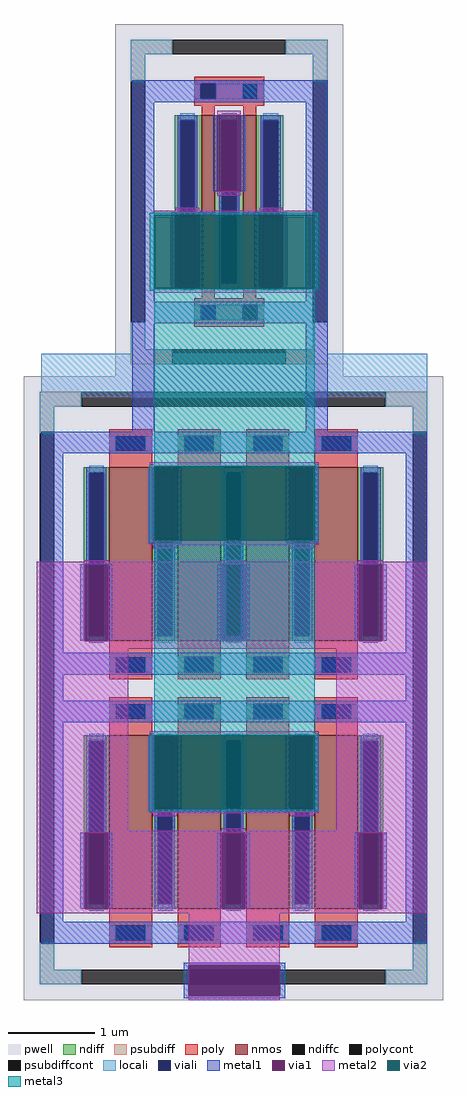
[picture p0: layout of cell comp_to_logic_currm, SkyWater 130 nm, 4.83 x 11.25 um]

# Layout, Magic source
magic
tech sky130B
magscale 1 2
<< pwell >>
rect 352 542 514 608
rect 352 32 514 98
<< poly >>
rect 352 592 514 608
rect 352 558 368 592
rect 402 558 514 592
rect 352 542 514 558
rect 352 82 514 98
rect 352 48 464 82
rect 498 48 514 82
rect 352 32 514 48
<< polycont >>
rect 368 558 402 592
rect 464 48 498 82
<< locali >>
rect 352 558 368 592
rect 402 558 514 592
rect 352 48 464 82
rect 498 48 514 82
rect 0 -130 890 -30
<< viali >>
rect 368 558 402 592
rect 464 48 498 82
rect 340 -1510 550 -1440
<< metal1 >>
rect 210 592 660 600
rect 210 558 368 592
rect 402 558 660 592
rect 210 550 660 558
rect 210 90 260 550
rect 396 344 406 520
rect 460 344 470 520
rect 300 120 310 296
rect 364 120 374 296
rect 492 120 502 296
rect 556 120 566 296
rect 610 90 660 550
rect 210 82 660 90
rect 210 48 464 82
rect 498 48 660 82
rect 210 40 660 48
rect 210 -210 260 40
rect 610 -210 660 40
rect 0 -260 890 -210
rect 0 -720 50 -260
rect 248 -468 258 -292
rect 312 -468 322 -292
rect 564 -468 574 -292
rect 628 -468 638 -292
rect 90 -692 100 -516
rect 154 -692 164 -516
rect 406 -692 416 -516
rect 470 -692 480 -516
rect 722 -692 732 -516
rect 786 -692 796 -516
rect 840 -720 890 -260
rect 0 -770 890 -720
rect 0 -830 50 -770
rect 840 -830 890 -770
rect 0 -880 890 -830
rect 0 -1340 50 -880
rect 248 -1086 258 -910
rect 312 -1086 322 -910
rect 564 -1086 574 -910
rect 628 -1086 638 -910
rect 90 -1310 100 -1134
rect 154 -1310 164 -1134
rect 406 -1310 416 -1134
rect 470 -1310 480 -1134
rect 722 -1310 732 -1134
rect 786 -1310 796 -1134
rect 840 -1340 890 -880
rect 0 -1390 890 -1340
rect 328 -1440 562 -1434
rect 328 -1510 340 -1440
rect 550 -1510 562 -1440
rect 328 -1516 562 -1510
<< via1 >>
rect 406 344 460 520
rect 310 120 364 296
rect 502 120 556 296
rect 258 -468 312 -292
rect 574 -468 628 -292
rect 100 -692 154 -516
rect 416 -692 470 -516
rect 732 -692 786 -516
rect 258 -1086 312 -910
rect 574 -1086 628 -910
rect 100 -1310 154 -1134
rect 416 -1310 470 -1134
rect 732 -1310 786 -1134
rect 340 -1510 550 -1440
<< metal2 >>
rect 406 520 460 530
rect 406 334 460 344
rect 310 300 364 306
rect 502 300 556 306
rect 260 296 630 300
rect 260 290 310 296
rect 364 290 502 296
rect 556 290 630 296
rect 260 110 630 120
rect 250 -290 640 -280
rect 250 -292 260 -290
rect 250 -468 258 -292
rect 630 -460 640 -290
rect 312 -468 574 -460
rect 628 -468 640 -460
rect 250 -470 640 -468
rect 258 -478 312 -470
rect 574 -478 628 -470
rect 100 -510 154 -506
rect 416 -510 470 -506
rect 732 -510 786 -506
rect -10 -516 890 -510
rect -10 -692 100 -516
rect 154 -692 416 -516
rect 470 -692 732 -516
rect 786 -692 890 -516
rect -10 -710 890 -692
rect -10 -1130 200 -710
rect 250 -910 640 -900
rect 250 -1086 258 -910
rect 630 -1080 640 -910
rect 312 -1086 574 -1080
rect 628 -1086 640 -1080
rect 250 -1090 640 -1086
rect 258 -1096 312 -1090
rect 574 -1096 628 -1090
rect 416 -1130 470 -1124
rect 680 -1130 890 -710
rect -10 -1134 890 -1130
rect -10 -1310 100 -1134
rect 154 -1310 416 -1134
rect 470 -1310 732 -1134
rect 786 -1310 890 -1134
rect -10 -1320 890 -1310
rect 340 -1440 550 -1320
rect 340 -1520 550 -1510
<< via2 >>
rect 260 120 310 290
rect 310 120 364 290
rect 364 120 502 290
rect 502 120 556 290
rect 556 120 630 290
rect 260 -292 630 -290
rect 260 -460 312 -292
rect 312 -460 574 -292
rect 574 -460 628 -292
rect 628 -460 630 -292
rect 260 -1080 312 -910
rect 312 -1080 574 -910
rect 574 -1080 628 -910
rect 628 -1080 630 -910
<< metal3 >>
rect 250 290 640 295
rect 250 120 260 290
rect 630 120 640 290
rect 250 115 640 120
rect 260 -285 630 115
rect 250 -290 640 -285
rect 250 -460 260 -290
rect 630 -460 640 -290
rect 250 -465 640 -460
rect 260 -905 630 -465
rect 250 -910 640 -905
rect 250 -1080 260 -910
rect 630 -1080 640 -910
rect 250 -1085 640 -1080
use sky130_fd_pr__nfet_01v8_LH2JGW  sky130_fd_pr__nfet_01v8_LH2JGW_0
transform 1 0 433 0 1 320
box -263 -410 263 410
use sky130_fd_pr__nfet_01v8_MJG2KS  sky130_fd_pr__nfet_01v8_MJG2KS_0
transform 1 0 443 0 1 -801
box -483 -719 483 719
<< end >>

# cell sky130_fd_pr__nfet_01v8_LH2JGW: kit device sky130_fd_pr__nfet_01v8, w 2 l 0.150 m 1 nf 2 diffcov 100 polycov 100 guard 1 glc 1 grc 1 gtc 1 gbc 1 tbcov 100 rlcov 100 topc 1 botc 1 poverlap 0 doverlap 1 lmin 0.15 wmin 0.42 compatible {sky130_fd_pr__nfet_01v8 sky130_fd_pr__nfet_01v8_lvt sky130_fd_bs_flash__special_sonosfet_star sky130_fd_pr__nfet_g5v0d10v5 sky130_fd_pr__nfet_05v0_nvt sky130_fd_pr__nfet_03v3_nvt} full_metal 1 viasrc 100 viadrn 100 viagate 100 viagb 0 viagr 0 viagl 0 viagt 0

# cell sky130_fd_pr__nfet_01v8_MJG2KS: kit device sky130_fd_pr__nfet_01v8, w 2 l 0.5 m 2 nf 4 diffcov 100 polycov 100 guard 1 glc 1 grc 1 gtc 1 gbc 1 tbcov 100 rlcov 100 topc 1 botc 1 poverlap 0 doverlap 1 lmin 0.15 wmin 0.42 compatible {sky130_fd_pr__nfet_01v8 sky130_fd_pr__nfet_01v8_lvt sky130_fd_bs_flash__special_sonosfet_star sky130_fd_pr__nfet_g5v0d10v5 sky130_fd_pr__nfet_05v0_nvt sky130_fd_pr__nfet_03v3_nvt} full_metal 1 viasrc 100 viadrn 100 viagate 100 viagb 0 viagr 0 viagl 0 viagt 0
